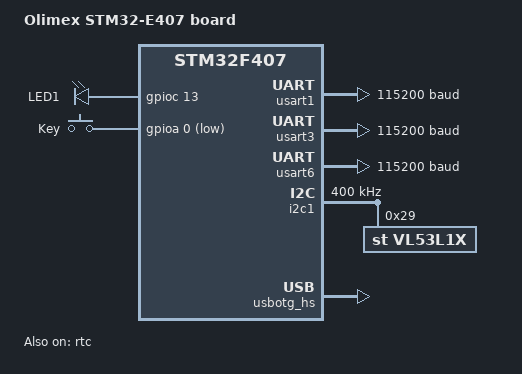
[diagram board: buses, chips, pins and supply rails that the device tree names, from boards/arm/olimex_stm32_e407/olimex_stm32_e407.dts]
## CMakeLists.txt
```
# SPDX-License-Identifier: Apache-2.0

cmake_minimum_required(VERSION 3.13.1)

set(COMPATIBLE_BOARDS olimex_stm32_e407)
if(NOT ${BOARD} IN_LIST COMPATIBLE_BOARDS)
    message(FATAL_ERROR "App $ENV{UROS_APP} not compatible with board ${BOARD}")
endif()

set(BOARD_ROOT ${CMAKE_CURRENT_LIST_DIR})

list(APPEND ZEPHYR_EXTRA_MODULES
  ${CMAKE_CURRENT_SOURCE_DIR}/vl53l1x_driver
)

include($ENV{ZEPHYR_BASE}/cmake/app/boilerplate.cmake NO_POLICY_SCOPE)
project(microrosapp C CXX)

set(microros_src_dir   ${MICRO_ROS_FIRMWARE_DIR}/zephyr_apps/microros_extensions)
set(microros_build_dir ${MICRO_ROS_FIRMWARE_DIR}/build/microros_extensions)

if(${MICRO_ROS_TRANSPORT} STREQUAL "serial")
    add_compile_definitions(MICRO_ROS_TRANSPORT_SERIAL)
elseif(${MICRO_ROS_TRANSPORT} STREQUAL "udp")
    add_compile_definitions(MICRO_ROS_TRANSPORT_UDP)
elseif(${MICRO_ROS_TRANSPORT} STREQUAL "serial-usb")
    add_compile_definitions(MICRO_ROS_TRANSPORT_SERIALUSB)
endif()

FILE(GLOB app_sources src/*.c ${microros_src_dir}/microros_transports.c)
include_directories(${microros_src_dir})

target_sources(app PRIVATE ${app_sources})

zephyr_get_include_directories_for_lang_as_string(       C includes)
zephyr_get_system_include_directories_for_lang_as_string(C system_includes)
zephyr_get_compile_definitions_for_lang_as_string(       C definitions)
zephyr_get_compile_options_for_lang_as_string(           C options)

zephyr_get_include_directories_for_lang_as_string(       CXX includes_cxx)
zephyr_get_system_include_directories_for_lang_as_string(CXX system_includes_cxx)
zephyr_get_compile_definitions_for_lang_as_string(       CXX definitions_cxx)
zephyr_get_compile_options_for_lang_as_string(           CXX options_cxx)

set(external_project_cflags
    "${includes} ${definitions} ${options} ${system_includes}"
    )

set(external_project_cxxflags
    "${includes_cxx} ${definitions_cxx} ${options_cxx} ${system_includes_cxx}"
    )

include(ExternalProject)

set(microros_src_dir   ${MICRO_ROS_FIRMWARE_DIR}/zephyr_apps/microros_extensions)
set(microros_build_dir ${MICRO_ROS_FIRMWARE_DIR}/build/microros_extensions)

if(CMAKE_GENERATOR STREQUAL "Unix Makefiles")
set(submake "$(MAKE)")
else()
set(submake "make")
endif()

ExternalProject_Add(
    microroslib_project                 # Name for custom target
    PREFIX     ${microros_build_dir}    # Root dir for entire project
    SOURCE_DIR ${microros_src_dir}
    BINARY_DIR ${microros_src_dir}      # This particular build system is invoked from the root
    CONFIGURE_COMMAND ""                # Skip configuring the project, e.g. with autoconf
    BUILD_COMMAND
        ${submake}
            PREFIX=${microros_src_dir}
            CC=${CMAKE_C_COMPILER}
            AR=${CMAKE_AR}
            CFLAGS=${external_project_cflags}
            CXX=${CMAKE_CXX_COMPILER}
            CXXFLAGS=${external_project_cxxflags}
            APP_META=$ENV{UROS_APP_FOLDER}/app-colcon.meta

    INSTALL_COMMAND ""      # This particular build system has no install command
    BUILD_BYPRODUCTS ${MICROROS_LIB_DIR}/libmicroros.a
    )

file(MAKE_DIRECTORY ${MICRO_ROS_FIRMWARE_DIR}/mcu_ws/install)
file(MAKE_DIRECTORY ${MICRO_ROS_FIRMWARE_DIR}/mcu_ws/install/include)

set(MICROROS_LIB_DIR     ${MICRO_ROS_FIRMWARE_DIR}/mcu_ws/install)
set(MICROROS_INCLUDE_DIR ${MICRO_ROS_FIRMWARE_DIR}/mcu_ws/install/include)

add_library(microroslib STATIC IMPORTED GLOBAL)
add_dependencies(
    microroslib
    microroslib_project
    )

add_dependencies(microroslib_project offsets_h)

set_target_properties(microroslib PROPERTIES IMPORTED_LOCATION             ${MICROROS_LIB_DIR}/libmicroros.a)
set_target_properties(microroslib PROPERTIES INTERFACE_INCLUDE_DIRECTORIES ${MICROROS_INCLUDE_DIR})

execute_process(
    COMMAND
        make get_package_names
    WORKING_DIRECTORY
        ${microros_src_dir}
    OUTPUT_VARIABLE
        INCLUDE_ROS2_PACKAGES
    )

foreach(pkg ${INCLUDE_ROS2_PACKAGES})
    file(MAKE_DIRECTORY ${MICROROS_INCLUDE_DIR}/${pkg})
    target_include_directories(microroslib INTERFACE ${MICROROS_INCLUDE_DIR}/${pkg})
endforeach()

target_link_libraries(app PUBLIC microroslib)
```

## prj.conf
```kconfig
CONFIG_MAIN_STACK_SIZE=25000

CONFIG_NEWLIB_LIBC=y
CONFIG_NEWLIB_LIBC_NANO=n
CONFIG_CPLUSPLUS=y
CONFIG_LIB_CPLUSPLUS=y
CONFIG_PTHREAD_IPC=n

CONFIG_POSIX_API=y
CONFIG_NATIVE_POSIX_TIMER=y
CONFIG_APP_LINK_WITH_POSIX_SUBSYS=y
CONFIG_POSIX_CLOCK=y

CONFIG_I2C=y
CONFIG_GPIO=y
CONFIG_SENSOR=y
CONFIG_VL53L1X=y
CONFIG_VL53L1X_PROXIMITY_THRESHOLD=100

CONFIG_STDOUT_CONSOLE=y
CONFIG_USB=y
CONFIG_USB_DEVICE_STACK=y
CONFIG_USB_DEVICE_PRODUCT="Zephyr CDC ACM sample"
CONFIG_LOG=y
CONFIG_USB_CDC_ACM=y
CONFIG_SERIAL=y
CONFIG_UART_INTERRUPT_DRIVEN=y
CONFIG_UART_LINE_CTRL=y
CONFIG_USB_DRIVER_LOG_LEVEL_ERR=y
CONFIG_USB_DEVICE_LOG_LEVEL_ERR=y
CONFIG_USB_CDC_ACM_RINGBUF_SIZE=2048

CONFIG_USB_UART_DTR_WAIT=n
```

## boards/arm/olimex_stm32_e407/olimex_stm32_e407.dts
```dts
/*
 * Copyright (c) 2017, Erwin Rol <erwin@erwinrol.com>
 *
 * SPDX-License-Identifier: Apache-2.0
 */

/dts-v1/;
#include <st/f4/stm32f407Xg.dtsi>

/ {
	model = "Olimex STM32-E407 board";
	compatible = "olimex,stm32-e407", "st,stm32f407";

	chosen {
		zephyr,console = &usart1;
		zephyr,shell-uart = &usart1;
		zephyr,sram = &sram0;
		zephyr,flash = &flash0;
		zephyr,ccm = &ccm0;
	};

	leds {
		compatible = "gpio-leds";
		green_led_1: led_1 {
			gpios = <&gpioc 13 GPIO_INT_ACTIVE_HIGH>;
			label = "LED1";
		};
	};

	gpio_keys {
		compatible = "gpio-keys";
		user_button: button {
			label = "Key";
			gpios = <&gpioa 0 GPIO_INT_ACTIVE_LOW>;
		};
	};

	aliases {
		led0 = &green_led_1;
		sw0 = &user_button;
	};
};

&usart1 {
	current-speed = <115200>;
	status = "okay";
};

&usart3 {
	current-speed = <115200>;
	status = "okay";
};

&usart6 {
	current-speed = <115200>;
	status = "okay";
};

&i2c1 {
	status = "okay";
	clock-frequency = <I2C_BITRATE_FAST>;

	vl53l1x@29 {
		compatible = "st,vl53l1x";
		reg = <0x29>;
		label = "VL53L1X";
	};
};

&rtc {
	status = "okay";
};

/* Only one interface should be enabled at a time: usbotg_fs or usbotg_hs */
usb_otg1: &usbotg_fs {
	status = "disabled";
};

usb_otg2: &usbotg_hs {
	status = "okay";
};
```

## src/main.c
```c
#include <zephyr.h>
#include <device.h>
#include <drivers/sensor.h>
#include <drivers/gpio.h>
#include <stdio.h>
#include <sys/util.h>
#include <string.h>
#include <sys/printk.h>

#include <rcl/rcl.h>
#include <rclc/rclc.h>
#include <rclc/executor.h>
#include <rcl/error_handling.h>

#include <rmw_microros/rmw_microros.h>
#include <microros_transports.h>

#include <std_msgs/msg/int32.h>
#include <std_msgs/msg/bool.h>

#define RCCHECK(fn) { rcl_ret_t temp_rc = fn; if((temp_rc != RCL_RET_OK)){printk("Failed status on line %d: %d. Aborting.\n",__LINE__,(int)temp_rc);}}
#define RCSOFTCHECK(fn) { rcl_ret_t temp_rc = fn; if((temp_rc != RCL_RET_OK)){printk("Failed status on line %d: %d. Continuing.\n",__LINE__,(int)temp_rc);}}

#define PIN	DT_GPIO_PIN(DT_ALIAS(led0), gpios)

static struct device *led;
int32_t debug = 2;

rcl_publisher_t tof_publisher;
rcl_publisher_t trigger_publisher;
rcl_subscription_t verbosity_subscription;
rcl_subscription_t thr_subscription;

std_msgs__msg__Bool verbosity_msg;
std_msgs__msg__Int32 thr_msg;

int32_t threshold = 300;

void verbosity_subscription_callback(const void * msgin)
{
	const std_msgs__msg__Int32 * msg = (const std_msgs__msg__Int32 *)msgin;
	debug = msg->data;
}

void thr_subscription_callback(const void * msgin)
{
	const std_msgs__msg__Int32 * msg = (const std_msgs__msg__Int32 *)msgin;
	threshold = msg->data;
}

void main(void)
{	
	// Set custom transports
	rmw_uros_set_custom_transport(
		MICRO_ROS_FRAMING_REQUIRED,
		(void *) &default_params,
		zephyr_transport_open,
		zephyr_transport_close,
		zephyr_transport_write,
		zephyr_transport_read
	);
	
	// ---- Devices configuration ----
	led = device_get_binding(DT_GPIO_LABEL(DT_ALIAS(led0), gpios));
	gpio_pin_configure(led, PIN, GPIO_OUTPUT_ACTIVE | 0);

	struct device *dev = device_get_binding(DT_LABEL(DT_INST(0, st_vl53l1x)));
	struct sensor_value value;

	if (dev == NULL) {
		printk("Could not get VL53L0X device\n");
	}

	// ---- micro-ROS configuration ----
	rcl_allocator_t allocator = rcl_get_default_allocator();
	rclc_support_t support;

	// create init_options
	RCCHECK(rclc_support_init(&support, 0, NULL, &allocator));

	// create node
	rcl_node_t node;
	RCCHECK(rclc_node_init_default(&node, "zephyr_sensors_node", "", &support));


	// Creating TOF publisher
	RCCHECK(rclc_publisher_init_default(&tof_publisher, &node, ROSIDL_GET_MSG_TYPE_SUPPORT(std_msgs, msg, Float32), "/tof/measure"));

	// Creating a trigger publisher
	RCCHECK(rclc_publisher_init_default(&trigger_publisher, &node, ROSIDL_GET_MSG_TYPE_SUPPORT(std_msgs, msg, Bool), "/tof/trigger"));
	// trigger_publisher_ops.qos.reliability = RMW_QOS_POLICY_RELIABILITY_BEST_EFFORT;

	// Creating a verbosity subscriber
	RCCHECK(rclc_subscription_init_default(&verbosity_subscription, &node, ROSIDL_GET_MSG_TYPE_SUPPORT(std_msgs, msg, Int32), "/tof/verbose"));

	// Creating a thresold subscriber
	RCCHECK(rclc_subscription_init_default(&thr_subscription, &node, ROSIDL_GET_MSG_TYPE_SUPPORT(std_msgs, msg, Int32), "/tof/threshold"));

	// Creating a executor
	rclc_executor_t executor;
	RCCHECK(rclc_executor_init(&executor, &support.context, 2, &allocator));
	RCCHECK(rclc_executor_add_subscription(&executor, &verbosity_subscription, &verbosity_msg, &verbosity_subscription_callback, ON_NEW_DATA));
	RCCHECK(rclc_executor_add_subscription(&executor, &thr_subscription, &thr_msg, &thr_subscription_callback, ON_NEW_DATA));

	// ---- Main loop ----
	uint32_t measure;
	bool state = false;

	while (1) {
		sensor_sample_fetch(dev);
		sensor_channel_get(dev, SENSOR_CHAN_DISTANCE, &value);
		measure = value.val1 + value.val2;

		rclc_executor_spin_some(&executor, RCL_MS_TO_NS(10));

		if (debug == 2){
			std_msgs__msg__Int32 msg;
			msg.data = measure;
			rcl_publish(&tof_publisher, (const void*)&msg, NULL);
		}

		bool old_state = state;
		state = measure < threshold;

		if (state != old_state || debug >= 1){
			std_msgs__msg__Bool msg;
			msg.data = state;
			rcl_publish(&trigger_publisher, (const void*)&msg, NULL);
		}
		
		gpio_pin_set(led, PIN, (int)state);

		// Serial print

		printk("%04d mm / %04d mm -> %s [", measure, threshold, state ? " ON" : "OFF");
		
		measure = (measure < 2000) ? measure : 1999;
		int graph = (60*measure) / (2000);
		graph = (graph > 0) ? graph : 0;
		for (size_t i = 0; i < graph; i++){
			printk("-");
		}
		printk("|");
		
		int spaces = (60-graph);
		spaces = (spaces > 0) ? spaces : 0;
		for (size_t i = 0; i < spaces; i++){
			printk(" ");
		}
		printk("]\r");

	}
}
```
